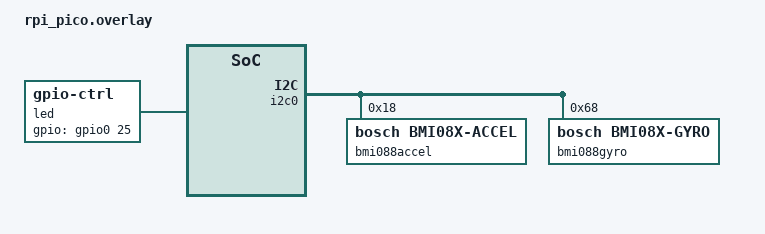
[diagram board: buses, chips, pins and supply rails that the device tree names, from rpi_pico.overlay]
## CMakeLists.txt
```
cmake_minimum_required(VERSION 3.20.0)
set(CMAKE_CXX_STANDARD 17)
set(BOARD rpi_pico)

find_package(Zephyr REQUIRED HINTS $ENV{ZEPHYR_BASE})
project(payload)

include_directories(src)
file(GLOB_RECURSE SRCS src/**.cpp)
target_sources(app PRIVATE ${SRCS})
```

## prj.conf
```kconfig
CONFIG_CPLUSPLUS=y
CONFIG_NEWLIB_LIBC=y
CONFIG_LIB_CPLUSPLUS=y
CONFIG_NEWLIB_LIBC_FLOAT_PRINTF=y
CONFIG_SERIAL=y

CONFIG_GPIO=y
CONFIG_SENSOR=y
CONFIG_I2C=y
CONFIG_BMI08X=y
CONFIG_BMI08X_ACCEL_TRIGGER_NONE=y
CONFIG_BMI08X_GYRO_TRIGGER_NONE=y
```

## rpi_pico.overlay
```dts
/ {
    led: led {
        compatible = "gpio-ctrl";
        gpios = <&gpio0 25 0x0>;
    };
    
    aliases {
		gyro = &bmi088gyro;
        accel = &bmi088accel;
	};
};

&pinctrl{
	myi2c: myi2c {
		group1 {
			pinmux = <I2C0_SDA_P12>, <I2C0_SCL_P13>;
			input-enable;
			input-schmitt-enable;
		};
	};
};

&i2c0 {
	status = "okay";
	pinctrl-0 = <&myi2c>;
    bmi088accel: bmi088accel@18 {
        status = "okay";
        compatible = "bosch,bmi08x-accel";
        reg = <0x18>;
        accel-hz = "800";
        accel-fs = <12>;
    };
    bmi088gyro: bmi088gyro@68 {
        status = "okay";
        compatible = "bosch,bmi08x-gyro";
        reg = <0x68>;
        gyro-hz = "100_32";
        gyro-fs = <125>;
    };

};
```

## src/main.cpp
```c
/*
 * Copyright (c) 2023 Libre Solar Technologies GmbH
 *
 * SPDX-License-Identifier: Apache-2.0
 */

#include <zephyr/devicetree.h>
#include <zephyr/drivers/gpio.h>
#include <zephyr/kernel.h>
#include <zephyr/device.h>
#include <zephyr/drivers/sensor.h>
#include <stdio.h>

// BMI08X------------------------------------------------------------------------
static const struct device *get_bmi088_gyro_device(void)
{
	// const struct device* dev = DEVICE_DT_GET(DT_ALIAS(gyro));
	const struct device* dev = DEVICE_DT_GET_ONE(bosch_bmi08x_gyro);

	if (dev == NULL) {
		/* No such node, or the node does not have status "okay". */
		printk("\nError: no gyro device found.\n");
		return NULL;
	}

	if (!device_is_ready(dev)) {
		printk("\nError: Gyro device \"%s\" is not ready; "
		       "check the driver initialization logs for errors.\n",
		       dev->name);
		return NULL;
	}

	printk("Found gyro device \"%s\", getting sensor data\n", dev->name);
	return dev;
}

static const struct device *get_bmi088_accel_device(void)
{
	const struct device* dev = DEVICE_DT_GET(DT_ALIAS(accel));

	if (dev == NULL) {
		/* No such node, or the node does not have status "okay". */
		printk("\nError: no accel device found.\n");
		return NULL;
	}

	if (!device_is_ready(dev)) {
		printk("\nError: Accel device \"%s\" is not ready; "
		       "check the driver initialization logs for errors.\n",
		       dev->name);
		return NULL;
	}
	printk("Found accel device \"%s\", getting sensor data\n", dev->name);
	return dev;
}

int main(void)
{   
	printk("start\n");
	//LED
	static const struct gpio_dt_spec led_dev = GPIO_DT_SPEC_GET(DT_NODELABEL(led), gpios);
    gpio_pin_configure_dt(&led_dev, GPIO_OUTPUT_ACTIVE);

    const struct device *bmi_gyro_dev = get_bmi088_gyro_device();
	if (bmi_gyro_dev == NULL) {
		// printk("bmi_gyro null\n");
		return 0;
	}
    const struct device *bmi_accel_dev = get_bmi088_accel_device();
	if (bmi_accel_dev == NULL) {
		return 0;
	}

    while(1){
        //LED
        printk("nel main\n");
        k_msleep(1000);
		gpio_pin_toggle_dt(&led_dev);

        struct sensor_value accxyz, gyroxyz;

		sensor_sample_fetch(bmi_gyro_dev);
		sensor_channel_get(bmi_gyro_dev, SENSOR_CHAN_GYRO_XYZ, &gyroxyz);

        sensor_sample_fetch(bmi_accel_dev);
		sensor_channel_get(bmi_accel_dev, SENSOR_CHAN_ACCEL_XYZ, &accxyz);
		printk("gyro: %d.%04d", gyroxyz); 
		printk("gyro: %d.%04d; accel: %d.%06d;", gyroxyz, accxyz); 
    }
	return 0;
}
```
